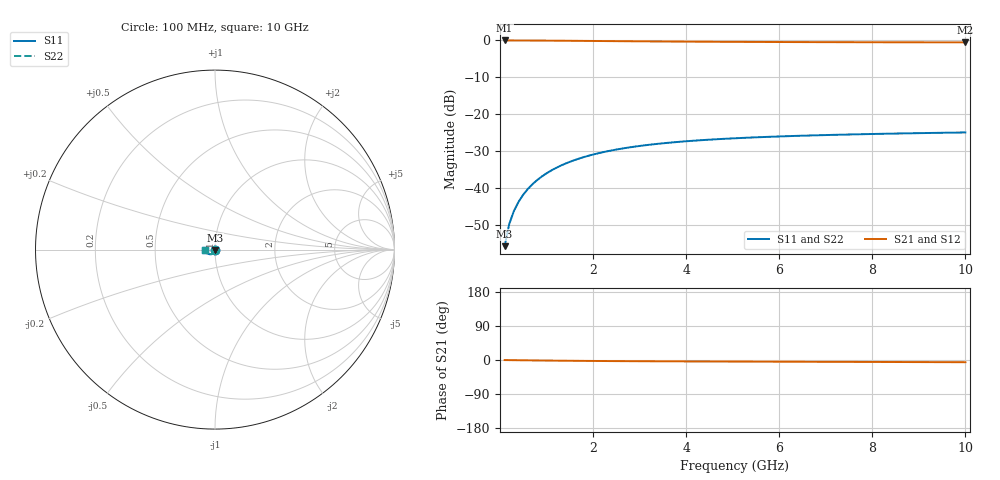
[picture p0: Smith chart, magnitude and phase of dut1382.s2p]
! Touchstone file exported from HFSS 2024.1.0
!  File:  C:/UserFiles/LocalFiles/RDL_TSV_Batchsim/temp_TSV1_1382_1780380222.aedt
!  Generated:  02:09:43 PM Jun  2, 2026
!  Design:  TSV1
!  Project:  temp_TSV1_1382_1780380222
!  Setup:  Setup1
!  Solution:  Sweep
! Variables:
!  dtsv = 12.11um
!  hbump = 3um
!  htsv = 91.56um
!  lrdl = 252.1521522um
!  p = 40
!  p1 = 54.65um
!  t = 500um
!  trdl = 3um
!  wrdl = 24.89489489um
# GHz S MA R 50.000000
! Terminal data exported
! Port[1] = TSV22_T1
! Port[2] = TSV22_T2
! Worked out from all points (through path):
!   100 points, 100 MHz to 10 GHz, reference 50 ohm
!   highest |S21| = 0.00 dB at 100 MHz (marker M1); lowest = -0.5 dB at 10 GHz (marker M2)
!   lowest |S11| = -55.6 dB at 100 MHz (marker M3), VSWR 1.00, Z = 50 - j0.166 ohm
!   |S11| at or under -10 dB: start of sweep to end of sweep
!   |S22| runs from -55.6 to -24.9 dB; largest |S21 - S12| = 6.3e-15
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0.1  0.001659 -88.2  0.9998 -0.2  0.9998 -0.2  0.001659 -88.2
! Gamma 0 0 0 0
! Port Impedance 50 0 50 0
0.2  0.003312 -91.7  0.9997 -0.3  0.9997 -0.3  0.003312 -91.7
0.3  0.004963 -94.1  0.9994 -0.5  0.9994 -0.5  0.004963 -94.1
0.4  0.006606 -96.3  0.999 -0.6  0.999 -0.6  0.006606 -96.3
0.5  0.008234 -98.3  0.9985 -0.8  0.9985 -0.8  0.008234 -98.3
0.6  0.009843 -100.3  0.9979 -0.9  0.9979 -0.9  0.009843 -100.3
0.7  0.01143 -102.2  0.9973 -1.0  0.9973 -1.0  0.01143 -102.2
0.8  0.01298 -104.0  0.9965 -1.2  0.9965 -1.2  0.01298 -104.0
0.9  0.01451 -105.9  0.9957 -1.3  0.9957 -1.3  0.01451 -105.9
1.1  0.01745 -109.5  0.9939 -1.6  0.9939 -1.6  0.01745 -109.5
1.4  0.02158 -114.5  0.9908 -1.9  0.9908 -1.9  0.02158 -114.5
1.6  0.02412 -117.7  0.9886 -2.1  0.9886 -2.1  0.02412 -117.7
1.8  0.0265 -120.8  0.9863 -2.3  0.9863 -2.3  0.0265 -120.8
2.1  0.02975 -125.1  0.9829 -2.6  0.9829 -2.6  0.02975 -125.1
2.5  0.03354 -130.4  0.9783 -2.9  0.9783 -2.9  0.03354 -130.4
2.9  0.03677 -135.1  0.974 -3.2  0.974 -3.2  0.03677 -135.1
3.4  0.04014 -140.4  0.9692 -3.4  0.9692 -3.4  0.04014 -140.4
4.2  0.04433 -147.7  0.9627 -3.8  0.9627 -3.8  0.04433 -147.7
5.1  0.04781 -154.4  0.9569 -4.1  0.9569 -4.1  0.04781 -154.4
6.7  0.05204 -164.0  0.9496 -4.7  0.9496 -4.7  0.05204 -164.0
8.4  0.05503 -171.9  0.9446 -5.3  0.9446 -5.3  0.05504 -171.9
10  0.05713 -178.2  0.9415 -5.8  0.9415 -5.8  0.05713 -178.2
